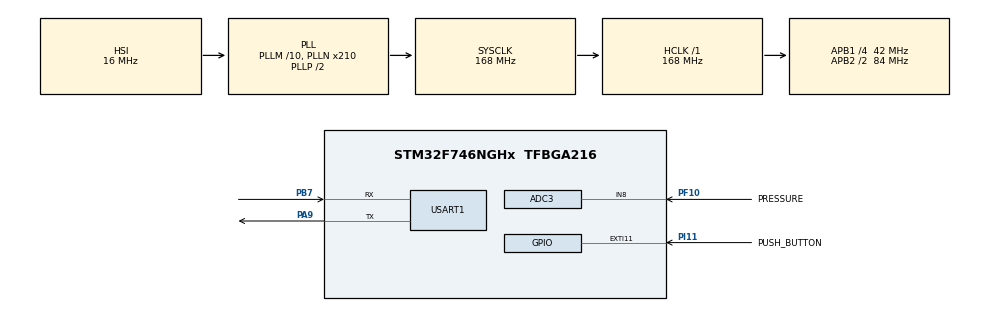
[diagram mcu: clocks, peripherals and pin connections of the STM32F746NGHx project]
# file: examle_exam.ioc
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ADC3.Channel-1\#ChannelRegularConversion=ADC_CHANNEL_8
ADC3.DiscontinuousConvMode=ENABLE
ADC3.NbrOfConversionFlag=1
ADC3.Rank-1\#ChannelRegularConversion=1
ADC3.SamplingTime-1\#ChannelRegularConversion=ADC_SAMPLETIME_15CYCLES
ADC3.ScanConvMode=ADC_SCAN_ENABLE
FREERTOS.Mutexes01=vectorMutex,Dynamic,NULL;ReadWriteMutex,Dynamic,NULL
FREERTOS.Tasks01=defaultTask,0,128,StartDefaultTask,Default,NULL,Dynamic,NULL,NULL;adcRead,2,512,startAdcRead,Default,NULL,Dynamic,NULL,NULL;print,-3,512,start_print,Default,NULL,Dynamic,NULL,NULL
Mcu.Family=STM32F7
Mcu.Name=STM32F746NGHx
Mcu.Package=TFBGA216
NVIC.EXTI15_10_IRQn=true\:6\:0\:true\:false\:true\:true\:true\:true
NVIC.PriorityGroup=NVIC_PRIORITYGROUP_4
NVIC.TIM8_TRG_COM_TIM14_IRQn=true\:0\:0\:false\:false\:true\:false\:false\:true
NVIC.TimeBase=TIM8_TRG_COM_TIM14_IRQn
NVIC.TimeBaseIP=TIM14
PA13.Mode=Serial_Wire
PA13.Signal=SYS_JTMS-SWDIO
PA14.Mode=Serial_Wire
PA14.Signal=SYS_JTCK-SWCLK
PA9.Mode=Asynchronous
PA9.Signal=USART1_TX
PB7.Mode=Asynchronous
PB7.Signal=USART1_RX
PC14/OSC32_IN.Mode=LSE-External-Clock-Source
PC14/OSC32_IN.Signal=RCC_OSC32_IN
PC15/OSC32_OUT.Mode=LSE-External-Clock-Source
PC15/OSC32_OUT.Signal=RCC_OSC32_OUT
PF10.GPIO_Label=PRESSURE
PF10.Mode=IN8
PF10.Signal=ADC3_IN8
PH0/OSC_IN.Mode=HSE-External-Oscillator
PH0/OSC_IN.Signal=RCC_OSC_IN
PH1/OSC_OUT.Mode=HSE-External-Oscillator
PH1/OSC_OUT.Signal=RCC_OSC_OUT
PI11.GPIO_Label=PUSH_BUTTON
PI11.GPIO_PuPd=GPIO_PULLDOWN
PI11.Signal=GPXTI11
ProjectManager.HeapSize=0x200
ProjectManager.StackSize=0x400
ProjectManager.TargetToolchain=STM32CubeIDE
RCC.AHBFreq_Value=168000000
RCC.APB1CLKDivider=RCC_HCLK_DIV4
RCC.APB1Freq_Value=42000000
RCC.APB1TimFreq_Value=84000000
RCC.APB2CLKDivider=RCC_HCLK_DIV2
RCC.APB2Freq_Value=84000000
RCC.APB2TimFreq_Value=168000000
RCC.CortexFreq_Value=168000000
RCC.HCLKFreq_Value=168000000
RCC.HSE_VALUE=25000000
RCC.HSI_VALUE=16000000
RCC.LSE_VALUE=32768
RCC.PLLM=10
RCC.PLLN=210
RCC.PLLSourceVirtual=RCC_PLLSOURCE_HSI
RCC.SYSCLKFreq_VALUE=168000000
RCC.SYSCLKSource=RCC_SYSCLKSOURCE_PLLCLK
RCC.USBFreq_Value=168000000
RCC.VCOOutputFreq_Value=336000000
USART1.VirtualMode-Asynchronous=VM_ASYNC
VP_FREERTOS_VS_CMSIS_V1.Mode=CMSIS_V1
VP_SYS_VS_tim14.Mode=TIM14
board=STM32F746G-DISCO

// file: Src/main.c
/* USER CODE BEGIN Header */
/**
  ******************************************************************************
  * @file           : main.c
  * @brief          : Main program body
  ******************************************************************************
  * @attention
  *
  * <h2><center>&copy; Copyright (c) 2019 STMicroelectronics.
  * All rights reserved.</center></h2>
  *
  * This software component is licensed by ST under BSD 3-Clause license,
  * the "License"; You may not use this file except in compliance with the
  * License. You may obtain a copy of the License at:
  *                        opensource.org/licenses/BSD-3-Clause
  *
  ******************************************************************************
  */
/* USER CODE END Header */

#include "main.h"
#include "cmsis_os.h"
#include "adc.h"
#include "usart.h"
#include "gpio.h"

/* USER CODE BEGIN Includes */
#include "declare.h"
/* USER CODE END Includes */

/* USER CODE BEGIN PV */
extern osThreadId adcReadHandle;
/* USER CODE END PV */

void SystemClock_Config(void);
void MX_FREERTOS_Init(void);

int main(void)
{

  /* MCU Configuration--------------------------------------------------------*/

  /* Reset of all peripherals, Initializes the Flash interface and the Systick. */
  HAL_Init();

  /* Configure the system clock */
  SystemClock_Config();

  /* Initialize all configured peripherals */
  MX_GPIO_Init();
  MX_USART1_UART_Init();
  MX_ADC3_Init();
  /* USER CODE BEGIN 2 */
  vector_init(&air_pressure);
  /* USER CODE END 2 */

  /* Call init function for freertos objects (in freertos.c) */
  MX_FREERTOS_Init();

  /* Start scheduler */
  osKernelStart();

  /* We should never get here as control is now taken by the scheduler */

  /* Infinite loop */
  while (1)
  {

  }
}

void SystemClock_Config(void)
{
  RCC_OscInitTypeDef RCC_OscInitStruct = {0};
  RCC_ClkInitTypeDef RCC_ClkInitStruct = {0};
  RCC_PeriphCLKInitTypeDef PeriphClkInitStruct = {0};

  /** Configure the main internal regulator output voltage
  */
  __HAL_RCC_PWR_CLK_ENABLE();
  __HAL_PWR_VOLTAGESCALING_CONFIG(PWR_REGULATOR_VOLTAGE_SCALE2);
  /** Initializes the CPU, AHB and APB busses clocks
  */
  RCC_OscInitStruct.OscillatorType = RCC_OSCILLATORTYPE_HSI;
  RCC_OscInitStruct.HSIState = RCC_HSI_ON;
  RCC_OscInitStruct.HSICalibrationValue = RCC_HSICALIBRATION_DEFAULT;
  RCC_OscInitStruct.PLL.PLLState = RCC_PLL_ON;
  RCC_OscInitStruct.PLL.PLLSource = RCC_PLLSOURCE_HSI;
  RCC_OscInitStruct.PLL.PLLM = 10;
  RCC_OscInitStruct.PLL.PLLN = 210;
  RCC_OscInitStruct.PLL.PLLP = RCC_PLLP_DIV2;
  RCC_OscInitStruct.PLL.PLLQ = 2;
  if (HAL_RCC_OscConfig(&RCC_OscInitStruct) != HAL_OK)
  {
    Error_Handler();
  }
  /** Initializes the CPU, AHB and APB busses clocks
  */
  RCC_ClkInitStruct.ClockType = RCC_CLOCKTYPE_HCLK|RCC_CLOCKTYPE_SYSCLK
                              |RCC_CLOCKTYPE_PCLK1|RCC_CLOCKTYPE_PCLK2;
  RCC_ClkInitStruct.SYSCLKSource = RCC_SYSCLKSOURCE_PLLCLK;
  RCC_ClkInitStruct.AHBCLKDivider = RCC_SYSCLK_DIV1;
  RCC_ClkInitStruct.APB1CLKDivider = RCC_HCLK_DIV4;
  RCC_ClkInitStruct.APB2CLKDivider = RCC_HCLK_DIV2;

  if (HAL_RCC_ClockConfig(&RCC_ClkInitStruct, FLASH_LATENCY_5) != HAL_OK)
  {
    Error_Handler();
  }
  PeriphClkInitStruct.PeriphClockSelection = RCC_PERIPHCLK_USART1;
  PeriphClkInitStruct.Usart1ClockSelection = RCC_USART1CLKSOURCE_PCLK2;
  if (HAL_RCCEx_PeriphCLKConfig(&PeriphClkInitStruct) != HAL_OK)
  {
    Error_Handler();
  }
}

/* USER CODE BEGIN 4 */
void HAL_GPIO_EXTI_Callback(uint16_t GPIO_Pin)
{
  if(GPIO_Pin == PUSH_BUTTON_Pin){
    if (HAL_GetTick() - 300 < prev_start_time) {
      return;
    }
   	prev_start_time = HAL_GetTick();
   	osSignalSet(adcReadHandle, 1);
  }
}

/* USER CODE END 4 */

void HAL_TIM_PeriodElapsedCallback(TIM_HandleTypeDef *htim)
{
  if (htim->Instance == TIM14) {
    HAL_IncTick();
  }
}

void Error_Handler(void)
{
}

/************************ (C) COPYRIGHT STMicroelectronics *****END OF FILE****/

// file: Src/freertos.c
/* USER CODE BEGIN Header */
/**
  ******************************************************************************
  * File Name          : freertos.c
  * Description        : Code for freertos applications
  ******************************************************************************
  * @attention
  *
  * <h2><center>&copy; Copyright (c) 2019 STMicroelectronics.
  * All rights reserved.</center></h2>
  *
  * This software component is licensed by ST under Ultimate Liberty license
  * SLA0044, the "License"; You may not use this file except in compliance with
  * the License. You may obtain a copy of the License at:
  *                             www.st.com/SLA0044
  *
  ******************************************************************************
  */
/* USER CODE END Header */

#include "FreeRTOS.h"
#include "task.h"
#include "main.h"
#include "cmsis_os.h"

/* USER CODE BEGIN Includes */
#include "declare.h"
#include "usart.h"
#include "gpio.h"
#include "adc.h"
#include "stdio.h"
#include "string.h"
/* USER CODE END Includes */

osThreadId defaultTaskHandle;
osThreadId adcReadHandle;
osThreadId printHandle;
osMutexId vectorMutexHandle;
osMutexId ReadWriteMutexHandle;

void StartDefaultTask(void const * argument);
void startAdcRead(void const * argument);
void start_print(void const * argument);

void MX_FREERTOS_Init(void); /* (MISRA C 2004 rule 8.1) */

void MX_FREERTOS_Init(void) {

  /* Create the mutex(es) */
  /* definition and creation of vectorMutex */
  osMutexDef(vectorMutex);
  vectorMutexHandle = osMutexCreate(osMutex(vectorMutex));

  /* definition and creation of ReadWriteMutex */
  osMutexDef(ReadWriteMutex);
  ReadWriteMutexHandle = osMutexCreate(osMutex(ReadWriteMutex));

  /* Create the thread(s) */
  /* definition and creation of defaultTask */
  osThreadDef(defaultTask, StartDefaultTask, osPriorityNormal, 0, 128);
  defaultTaskHandle = osThreadCreate(osThread(defaultTask), NULL);

  /* definition and creation of adcRead */
  osThreadDef(adcRead, startAdcRead, osPriorityHigh, 0, 512);
  adcReadHandle = osThreadCreate(osThread(adcRead), NULL);

  /* definition and creation of print */
  osThreadDef(print, start_print, osPriorityIdle, 0, 512);
  printHandle = osThreadCreate(osThread(print), NULL);

}

void StartDefaultTask(void const * argument)
{

  for(;;)
  {
    osDelay(1);
  }
}

void startAdcRead(void const * argument)
{
  /* USER CODE BEGIN startAdcRead */
  /* Infinite loop */
  for(;;)
  {
	osSignalWait(1, osWaitForever);
	HAL_ADC_Start(&hadc3);
	if (HAL_ADC_PollForConversion(&hadc3, 10) == HAL_OK) {
	  new_air_pressure.timestamp_ms = HAL_GetTick();
	  new_air_pressure.pressure_kPa = HAL_ADC_GetValue(&hadc3) *
				 (PRESSURE_MAX - PRESSURE_MIN) /
			     (ANALOG_MAX - ANALOG_MIN) + PRESSURE_MIN;
	}
	osMutexWait(ReadWriteMutexHandle, osWaitForever);
	vector_push_back(&air_pressure, new_air_pressure);
	osMutexRelease(ReadWriteMutexHandle);

	/*if(test == 0){
	  osSignalWait(9, osWaitForever);
	}
	empty = vector_empty(air_pressure);
    vector_push_back(&air_pressure, new_air_pressure);
	test++;
	new_air_pressure.pressure_kPa += 1.5;
	new_air_pressure.timestamp_ms += 1;
	vector_push_back(&air_pressure, new_air_pressure);
	new_air_pressure.pressure_kPa += (float)test;
	new_air_pressure.timestamp_ms += (uint32_t)test;
    osDelay(1000);
    vector_pop_back(&air_pressure);
    read_data = vector_at(air_pressure, (uint32_t)(test - 9));
    size_of_vector = vector_size(air_pressure);
    capacity_of_vector = vector_capacity(air_pressure);
    osDelay(1000);*/
  }
  /* USER CODE END startAdcRead */
}

void start_print(void const * argument)
{
  /* USER CODE BEGIN start_print */
  /* Infinite loop */
  for(;;)
  {
	char text[50];
	sprintf(text, "-------------------\r\n");
	HAL_UART_Transmit(&huart1, (uint8_t*)text, strlen(text), 100);
	if(vector_empty(air_pressure)){
	  sprintf(text, "Vector is empty\r\n");
      HAL_UART_Transmit(&huart1, (uint8_t*)text, strlen(text), 100);
	}else{
	  for(uint32_t i = 0; i < vector_size(air_pressure); ++i){
		osMutexWait(ReadWriteMutexHandle, osWaitForever);
		read_data = vector_at(air_pressure, i);
		osMutexRelease(ReadWriteMutexHandle);
   	    sprintf(text, "%lu.   %lums %lukPa\r\n",
			  i + 1, read_data.timestamp_ms,
			  (uint32_t)read_data.pressure_kPa);
        HAL_UART_Transmit(&huart1, (uint8_t*)text, strlen(text), 100);
	  }
	}
    osDelay(1000);
  }
  /* USER CODE END start_print */
}

/************************ (C) COPYRIGHT STMicroelectronics *****END OF FILE****/
